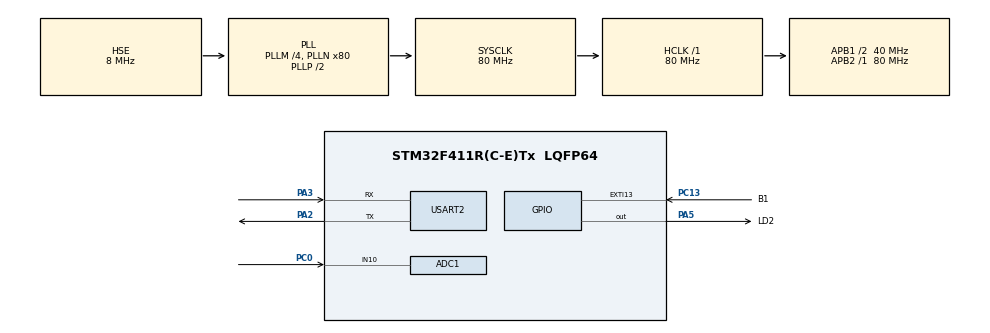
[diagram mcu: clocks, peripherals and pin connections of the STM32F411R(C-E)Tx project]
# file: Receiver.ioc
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ADC1.Channel-0\#ChannelRegularConversion=ADC_CHANNEL_10
ADC1.ContinuousConvMode=DISABLE
ADC1.DMAContinuousRequests=ENABLE
ADC1.ExternalTrigConv=ADC_EXTERNALTRIGCONV_T3_TRGO
ADC1.NbrOfConversion=1
ADC1.NbrOfConversionFlag=1
ADC1.Rank-0\#ChannelRegularConversion=1
ADC1.SamplingTime-0\#ChannelRegularConversion=ADC_SAMPLETIME_56CYCLES
ADC1.master=1
Dma.ADC1.0.Direction=DMA_PERIPH_TO_MEMORY
Dma.ADC1.0.FIFOMode=DMA_FIFOMODE_DISABLE
Dma.ADC1.0.Instance=DMA2_Stream0
Dma.ADC1.0.MemDataAlignment=DMA_MDATAALIGN_HALFWORD
Dma.ADC1.0.MemInc=DMA_MINC_ENABLE
Dma.ADC1.0.Mode=DMA_CIRCULAR
Dma.ADC1.0.PeriphDataAlignment=DMA_PDATAALIGN_HALFWORD
Dma.ADC1.0.PeriphInc=DMA_PINC_DISABLE
Dma.ADC1.0.Priority=DMA_PRIORITY_LOW
Dma.Request0=ADC1
Mcu.Family=STM32F4
Mcu.Name=STM32F411R(C-E)Tx
Mcu.Package=LQFP64
NVIC.DMA2_Stream0_IRQn=true\:0\:0\:false\:false\:true\:false\:true\:true
NVIC.EXTI15_10_IRQn=true\:0\:0\:false\:false\:true\:true\:true\:true
NVIC.PriorityGroup=NVIC_PRIORITYGROUP_0
PA13.Mode=Serial_Wire
PA13.Signal=SYS_JTMS-SWDIO
PA14.Mode=Serial_Wire
PA14.Signal=SYS_JTCK-SWCLK
PA2.Mode=Asynchronous
PA2.Signal=USART2_TX
PA3.Mode=Asynchronous
PA3.Signal=USART2_RX
PA5.GPIO_Label=LD2
PA5.Signal=GPIO_Output
PC0.Signal=ADCx_IN10
PC13-ANTI_TAMP.GPIO_Label=B1
PC13-ANTI_TAMP.Signal=GPXTI13
PC14-OSC32_IN.Mode=LSE-External-Oscillator
PC14-OSC32_IN.Signal=RCC_OSC32_IN
PC15-OSC32_OUT.Mode=LSE-External-Oscillator
PC15-OSC32_OUT.Signal=RCC_OSC32_OUT
PH0\ -\ OSC_IN.Mode=HSE-External-Clock-Source
PH0\ -\ OSC_IN.Signal=RCC_OSC_IN
PH1\ -\ OSC_OUT.Mode=HSE-External-Clock-Source
PH1\ -\ OSC_OUT.Signal=RCC_OSC_OUT
ProjectManager.HeapSize=0x200
ProjectManager.StackSize=0x400
ProjectManager.TargetToolchain=STM32CubeIDE
RCC.48MHZClocksFreq_Value=40000000
RCC.AHBFreq_Value=80000000
RCC.APB1CLKDivider=RCC_HCLK_DIV2
RCC.APB1Freq_Value=40000000
RCC.APB1TimFreq_Value=80000000
RCC.APB2Freq_Value=80000000
RCC.APB2TimFreq_Value=80000000
RCC.CortexFreq_Value=80000000
RCC.FLatency-AdvancedSettings=FLASH_LATENCY_2
RCC.HCLKFreq_Value=80000000
RCC.HSE_VALUE=8000000
RCC.HSI_VALUE=16000000
RCC.PLLM=4
RCC.PLLN=80
RCC.PLLSourceVirtual=RCC_PLLSOURCE_HSE
RCC.SYSCLKFreq_VALUE=80000000
RCC.SYSCLKSource=RCC_SYSCLKSOURCE_PLLCLK
RCC.VCOOutputFreq_Value=160000000
SH.ADCx_IN10.0=ADC1_IN10,IN10
TIM3.Period=399
TIM3.TIM_MasterOutputTrigger=TIM_TRGO_UPDATE
USART2.VirtualMode=VM_ASYNC
VP_TIM3_VS_ClockSourceINT.Mode=Internal
board=NUCLEO-F411RE

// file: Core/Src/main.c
/* USER CODE BEGIN Header */
/**
 ******************************************************************************
 * @file           : main.c
 * @brief          : IBC receiver (BFSK/OOK)
 ******************************************************************************
 *
 * ADC 200 kHz -> Goertzel (10/20 kHz + 5 kHz noise bin) -> edge-tracking
 * bit sync, centre-3 vote -> Barker-13 + PRBS-9 (BER) or CRC frames (packet).
 *
 * BER_TEST_MODE: 1 = BER stream, 0 = packet mode. BPS_MODE 20/40/100,
 * MOD_MODE 0 = BFSK / 1 = OOK. Same values on TX.
 *
 * NUCLEO-F411RE @ 100 MHz. ADC1 ch10 (PC0) -> signal electrode, GND ->
 * return electrode. TIM3 200 kHz ADC trigger, USART2 log.
 *
 ******************************************************************************
 */
/* USER CODE END Header */
#include "main.h"

/* USER CODE BEGIN Includes */
#include <stdio.h>
#include <math.h>
#include <stdint.h>
#include <string.h>
/* USER CODE END Includes */

ADC_HandleTypeDef hadc1;
DMA_HandleTypeDef hdma_adc1;

TIM_HandleTypeDef htim3;

UART_HandleTypeDef huart2;

void SystemClock_Config(void);
static void MX_GPIO_Init(void);
static void MX_DMA_Init(void);
static void MX_ADC1_Init(void);
static void MX_TIM3_Init(void);
static void MX_USART2_UART_Init(void);

/* USER CODE BEGIN 0 */

/* non-blocking UART log: ring buffer drained from the main loop */
#define TXR_SIZE 2048u
static uint8_t  txr_buf[TXR_SIZE];
static volatile uint16_t txr_head = 0;
static volatile uint16_t txr_tail = 0;
static volatile uint8_t  tx_async = 0;   /* 0 = blocking, 1 = buffered */

static inline void txr_push(uint8_t c)
{
    uint16_t next = (uint16_t)((txr_head + 1u) % TXR_SIZE);
    if (next != txr_tail) { txr_buf[txr_head] = c; txr_head = next; }
}

static void txr_drain(void)
{
    while (txr_tail != txr_head && __HAL_UART_GET_FLAG(&huart2, UART_FLAG_TXE))
    {
        huart2.Instance->DR = txr_buf[txr_tail];
        txr_tail = (uint16_t)((txr_tail + 1u) % TXR_SIZE);
    }
}

static void txr_flush_blocking(void)
{
    while (txr_tail != txr_head)
    {
        if (__HAL_UART_GET_FLAG(&huart2, UART_FLAG_TXE))
        {
            huart2.Instance->DR = txr_buf[txr_tail];
            txr_tail = (uint16_t)((txr_tail + 1u) % TXR_SIZE);
        }
    }
}

int __io_putchar(int ch)
{
    uint8_t c = (uint8_t)ch;
    if (tx_async) {
        txr_push(c);
    } else {
        HAL_UART_Transmit(&huart2, &c, 1, 10);
    }
    return ch;
}

/* 1 = BER stream, 0 = packet mode */
#define BER_TEST_MODE   0

/* 1 = idle power bench (ADC/TIM3 off, WFI; measure at JP6, no debugger) */
#ifndef POWER_IDLE_TEST
#define POWER_IDLE_TEST 0
#endif

/* bit rate: 20, 40 or 100 bps (same on TX); window N = FS_ADC/(5*bps) */
#ifndef BPS_MODE
#define BPS_MODE 20
#endif

/* 0 = BFSK (10/20 kHz), 1 = OOK (20 kHz vs adaptive threshold) */
#ifndef MOD_MODE
#define MOD_MODE 1
#endif
#if MOD_MODE != 0 && MOD_MODE != 1
#error "MOD_MODE must be 0 (BFSK) or 1 (OOK)"
#endif

/* auto-stop N minutes after the first sync (0 = run forever) */
#ifndef TEST_DURATION_MIN
#define TEST_DURATION_MIN 25u
#endif
#define TEST_DURATION_MS  ((uint32_t)TEST_DURATION_MIN * 60000u)

#define FS_ADC       200000u

#if BPS_MODE == 20
  #define HALF_SAMPLES 2000u
#elif BPS_MODE == 40
  #define HALF_SAMPLES 1000u
#elif BPS_MODE == 100
  #define HALF_SAMPLES 400u
#else
  #error "Unsupported BPS_MODE: choose 20, 40 or 100"
#endif

#define N_SAMPLES    (HALF_SAMPLES * 2u)
#define F_NOISE      5000.0f   /* noise bin */

static uint16_t adc_buf[N_SAMPLES];
static volatile uint32_t adc_half_ready = 0;

typedef struct { float coeff; } goertzel_cfg_t;
static goertzel_cfg_t g10, g20, g_noise;

static void goertzel_init(goertzel_cfg_t *g, uint32_t N, float fs, float f0)
{
    float kf = (N * f0) / fs;
    uint32_t k = (uint32_t)(kf + 0.5f);
    float w = 2.0f * 3.14159265f * (float)k / (float)N;
    g->coeff = 2.0f * cosf(w);
}

/* single-bin power, DC removed */
static float goertzel_power(const goertzel_cfg_t *g, const uint16_t *x, uint32_t N)
{
    uint32_t sum = 0;
    for (uint32_t i = 0; i < N; i++) sum += x[i];
    float mean = (float)sum / (float)N;

    float s0 = 0.0f, s1 = 0.0f, s2 = 0.0f;
    float coeff = g->coeff;
    for (uint32_t i = 0; i < N; i++) {
        float v = (float)x[i] - mean;
        s0 = v + coeff * s1 - s2;
        s2 = s1;
        s1 = s0;
    }
    return (s1 * s1 + s2 * s2 - coeff * s1 * s2);
}

static uint8_t last_bit = 1;

#if MOD_MODE == 0
#define MIN_POWER_THRESHOLD  1e4f
#define DIFF_FRACTION  0.15f

static uint8_t classify_bfsk(float p10, float p20)
{
    if (!(p10 == p10) || p10 < 0) p10 = 0;
    if (!(p20 == p20) || p20 < 0) p20 = 0;

    float pmax = (p10 > p20) ? p10 : p20;
    if (pmax < MIN_POWER_THRESHOLD) return last_bit;

    float diff = p20 - p10;
    float margin = pmax * DIFF_FRACTION;

    if (diff > margin)       last_bit = 1;
    else if (diff < -margin) last_bit = 0;

    return last_bit;
}
#endif /* MOD_MODE == 0 */

#if MOD_MODE == 1
/* OOK threshold: geometric mean of on/off EMAs, hysteresis, noise bootstrap */
#define OOK_NOISE_FACTOR  10.0f
#define OOK_EMA_ALPHA     0.05f
#define OOK_HYST          1.5f

static float ook_ema_on = 0.0f, ook_ema_off = 0.0f;

static uint8_t classify_ook(float pc, float p_noise)
{
    if (!(pc == pc) || pc < 0) pc = 0;
    if (!(p_noise == p_noise) || p_noise < 1.0f) p_noise = 1.0f;

    float thr;
    if (ook_ema_on > 0.0f && ook_ema_off > 0.0f)
        thr = sqrtf(ook_ema_on * ook_ema_off);
    else
        thr = OOK_NOISE_FACTOR * p_noise;

    if (pc > thr * OOK_HYST)      last_bit = 1;
    else if (pc * OOK_HYST < thr) last_bit = 0;
    /* else keep last_bit */

    if (last_bit)
        ook_ema_on  = (ook_ema_on  <= 0.0f) ? pc
                      : ook_ema_on  + OOK_EMA_ALPHA * (pc - ook_ema_on);
    else
        ook_ema_off = (ook_ema_off <= 0.0f) ? pc
                      : ook_ema_off + OOK_EMA_ALPHA * (pc - ook_ema_off);

    return last_bit;
}
#endif /* MOD_MODE == 1 */

#if BER_TEST_MODE
/* stream: 64-bit preamble + Barker-13 + 511-bit PRBS-9, vs local replica */

static uint16_t prbs9_state_rx = 0x1FFu;
static uint8_t prbs9_next_bit_rx(void)
{
    uint8_t out = (uint8_t)(((prbs9_state_rx >> 8) ^ (prbs9_state_rx >> 4)) & 1u);
    prbs9_state_rx = (uint16_t)(((prbs9_state_rx << 1) | out) & 0x1FFu);
    return out;
}

#define BER_BARKER_LEN     13u
#define BER_BARKER_PATTERN 0x1F35u    /* 1111100110101 */
#define BER_BARKER_MASK    0x1FFFu
#define BER_PRBS_BITS      511u

/* gate: the 8 bits before the Barker must be 0x55 (fewer false syncs) */
#define BER_PREAMBLE_CHECK_BITS 8u
#define BER_PREAMBLE_CHECK_MASK 0xFFu
#define BER_PREAMBLE_EXPECT     0x55u

/* seq BER >= threshold -> slip, excluded from BER_cond */
#define BER_VALID_THRESHOLD     0.10f

typedef enum { BER_SEARCHING = 0, BER_SYNCED } ber_state_t;
static ber_state_t ber_st        = BER_SEARCHING;
static uint32_t    ber_shifter   = 0;
static uint32_t    ber_seq_idx   = 0;

static uint32_t ber_seq_total = 0;
static uint32_t ber_seq_err   = 0;

/* cum = all sequences, valid = lock-only */
static uint32_t ber_cum_total  = 0;
static uint32_t ber_cum_err    = 0;
static uint32_t ber_sync_count = 0;

static uint32_t ber_valid_syncs = 0;
static uint32_t ber_slip_syncs  = 0;
static uint32_t ber_valid_bits  = 0;
static uint32_t ber_valid_errs  = 0;

static uint32_t test_start_ms = 0;
static uint8_t  test_done     = 0;

static void ber_process_bit(uint8_t b)
{
    ber_shifter = (ber_shifter << 1) | (b & 1u);

    if (ber_st == BER_SEARCHING) {
        uint16_t barker = (uint16_t)(ber_shifter & BER_BARKER_MASK);
        uint8_t  prefix = (uint8_t)((ber_shifter >> BER_BARKER_LEN) & BER_PREAMBLE_CHECK_MASK);
        if (barker == BER_BARKER_PATTERN && prefix == BER_PREAMBLE_EXPECT) {
            prbs9_state_rx = 0x1FFu;
            ber_st         = BER_SYNCED;
            ber_seq_idx    = 0;
            ber_seq_total  = 0;
            ber_seq_err    = 0;
            ber_sync_count++;
            if (test_start_ms == 0) {
                test_start_ms = HAL_GetTick();
            }
            printf("BER: SYNC #%lu (gated)\r\n", (unsigned long)ber_sync_count);
        }
        return;
    }

    uint8_t expected = prbs9_next_bit_rx();
    if (b != expected) {
        ber_seq_err++;
        ber_cum_err++;
    }
    ber_seq_total++;
    ber_cum_total++;
    ber_seq_idx++;

    if (ber_seq_idx >= BER_PRBS_BITS) {
        float ber_seq  = (ber_seq_total  > 0) ? (float)ber_seq_err  / (float)ber_seq_total  : 0.0f;
        float ber_cum  = (ber_cum_total  > 0) ? (float)ber_cum_err  / (float)ber_cum_total  : 0.0f;
        const char *tag;
        if (ber_seq < BER_VALID_THRESHOLD) {
            ber_valid_syncs++;
            ber_valid_bits += ber_seq_total;
            ber_valid_errs += ber_seq_err;
            tag = "LOCK";
        } else {
            ber_slip_syncs++;
            tag = "SLIP";
        }
        float ber_cond = (ber_valid_bits > 0)
                         ? (float)ber_valid_errs / (float)ber_valid_bits : 0.0f;
        printf("BER: END_SEQ #%lu [%s] seq_err=%lu BER_seq=%.4e | "
               "lock=%lu slip=%lu BER_cond=%.4e BER_cum=%.4e\r\n",
               (unsigned long)ber_sync_count, tag,
               (unsigned long)ber_seq_err, (double)ber_seq,
               (unsigned long)ber_valid_syncs, (unsigned long)ber_slip_syncs,
               (double)ber_cond, (double)ber_cum);
        ber_st      = BER_SEARCHING;
        ber_seq_idx = 0;
        /* keep ber_shifter: the next sync shifts in naturally */
    }
}
#endif /* BER_TEST_MODE */

/* frame: 0x55 preamble, sync 0xD3 0x91, LEN, SEQ, payload, CRC-16/CCITT-FALSE LE */
#define PREAMBLE_BYTE      0x55u
#define PREAMBLE_MIN       4u
#define SYNC1_BYTE         0xD3u
#define SYNC2_BYTE         0x91u
#define FRAME_PAYLOAD_MAX  80u

static uint16_t crc16_ccitt_false_update(uint16_t crc, uint8_t data)
{
    crc ^= (uint16_t)data << 8;
    for (int i = 0; i < 8; i++) {
        if (crc & 0x8000) crc = (crc << 1) ^ 0x1021;
        else              crc = (crc << 1);
    }
    return crc;
}

typedef enum {
    FP_SEARCH = 0, FP_SYNC2, FP_LEN, FP_SEQ,
    FP_PAYLOAD, FP_CRC_LO, FP_CRC_HI
} fp_state_t;

static struct {
    fp_state_t st;
    uint8_t pre_cnt, len, seq;
    uint8_t payload[FRAME_PAYLOAD_MAX];
    uint8_t idx;
    uint16_t crc_rx, crc_calc;
} fp;

static void fp_reset(void) {
    fp.st = FP_SEARCH; fp.pre_cnt = 0; fp.len = 0; fp.seq = 0;
    fp.idx = 0; fp.crc_rx = 0; fp.crc_calc = 0xFFFF;
}
static void fp_init(void) { fp_reset(); }

static uint32_t fp_t0 = 0;
#define FP_TIMEOUT_MS 5000u
static inline void fp_note_activity(void) { fp_t0 = HAL_GetTick(); }

static uint32_t stat_ok = 0, stat_crc_fail = 0, stat_gaps = 0;
static uint8_t have_seq = 0, last_seq_ok = 0;

static float p10_acc = 0.0f, p20_acc = 0.0f, p_noise_acc = 0.0f;
static uint32_t p_count = 0;

static void fp_on_frame_ok(uint8_t len, uint8_t seq, const uint8_t *pl)
{
    stat_ok++;

    printf("FRAME OK seq=%u len=%u", (unsigned)seq, (unsigned)len);
    if (len == 2u) {
        /* uint16 LE, mg/dL */
        uint16_t val = (uint16_t)pl[0] | ((uint16_t)pl[1] << 8);
        printf(" %u mg/dL", (unsigned)val);
    } else {
        char s[FRAME_PAYLOAD_MAX + 1] = {0};
        uint8_t n = (len > FRAME_PAYLOAD_MAX) ? FRAME_PAYLOAD_MAX : len;
        for (uint8_t i = 0; i < n; i++) {
            uint8_t c = pl[i];
            if (c < 32 || c > 126) { s[0] = '\0'; break; }
            s[i] = (char)c;
            s[i + 1] = '\0';
        }
        if (s[0]) printf(" MSG: %s", s);
    }
    printf(" [ok=%lu fail=%lu gaps=%lu]\r\n",
           (unsigned long)stat_ok, (unsigned long)stat_crc_fail, (unsigned long)stat_gaps);

    if (have_seq) {
        uint8_t exp = (uint8_t)(last_seq_ok + 1u);
        if (seq != exp) {
            stat_gaps++;
            printf("SEQ GAP %u->%u\r\n", (unsigned)last_seq_ok, (unsigned)seq);
        }
    } else {
        have_seq = 1;
    }
    last_seq_ok = seq;

    /* PKT,<t_ms>,<seq>,<mgdl>,<ok>,<crc_fail>,<gaps> */
    if (len == 2u) {
        uint16_t val = (uint16_t)pl[0] | ((uint16_t)pl[1] << 8);
        printf("PKT,%lu,%u,%u,%lu,%lu,%lu\r\n",
               (unsigned long)HAL_GetTick(), (unsigned)seq, (unsigned)val,
               (unsigned long)stat_ok, (unsigned long)stat_crc_fail,
               (unsigned long)stat_gaps);
    }
}

static void fp_push_byte(uint8_t b)
{
    fp_note_activity();
    switch (fp.st) {
    case FP_SEARCH:
        if (b == PREAMBLE_BYTE) { if (fp.pre_cnt < 255) fp.pre_cnt++; return; }
        if (fp.pre_cnt >= PREAMBLE_MIN && b == SYNC1_BYTE) { fp.st = FP_SYNC2; return; }
        fp.pre_cnt = 0;
        return;
    case FP_SYNC2:
        if (b == SYNC2_BYTE) fp.st = FP_LEN; else fp_reset();
        return;
    case FP_LEN:
        fp.len = b;
        if (fp.len > FRAME_PAYLOAD_MAX) { fp_reset(); return; }
        fp.crc_calc = 0xFFFF;
        fp.crc_calc = crc16_ccitt_false_update(fp.crc_calc, fp.len);
        fp.st = FP_SEQ;
        return;
    case FP_SEQ:
        fp.seq = b;
        fp.crc_calc = crc16_ccitt_false_update(fp.crc_calc, fp.seq);
        fp.idx = 0;
        fp.st = (fp.len == 0) ? FP_CRC_LO : FP_PAYLOAD;
        return;
    case FP_PAYLOAD:
        fp.payload[fp.idx++] = b;
        fp.crc_calc = crc16_ccitt_false_update(fp.crc_calc, b);
        if (fp.idx >= fp.len) fp.st = FP_CRC_LO;
        return;
    case FP_CRC_LO:
        fp.crc_rx = (uint16_t)b;
        fp.st = FP_CRC_HI;
        return;
    case FP_CRC_HI:
        fp.crc_rx |= ((uint16_t)b << 8);
        if (fp.crc_rx == fp.crc_calc) {
            fp_on_frame_ok(fp.len, fp.seq, fp.payload);
        } else {
            stat_crc_fail++;
            printf("CRC FAIL rx=%04X calc=%04X [fail=%lu]\r\n",
                   (unsigned)fp.crc_rx, (unsigned)fp.crc_calc, (unsigned long)stat_crc_fail);
            /* PKTFAIL,<t_ms>,<seq>,<ok>,<crc_fail> */
            printf("PKTFAIL,%lu,%u,%lu,%lu\r\n",
                   (unsigned long)HAL_GetTick(), (unsigned)fp.seq,
                   (unsigned long)stat_ok, (unsigned long)stat_crc_fail);
        }
        fp_reset();
        return;
    }
}

/* UART-like deframer: start, 8 data LSB-first, stop */
typedef enum { RX_WAIT_START = 0, RX_BITS, RX_STOP } rx_state_t;
static rx_state_t rx_st = RX_WAIT_START;
static uint8_t rx_byte = 0, rx_bit_i = 0;

#define WINS_PER_BIT  5u

static uint8_t win_buf[WINS_PER_BIT];
static uint8_t bit_cnt = 0;
static uint8_t start_zeros = 0, stop_ones = 0, idle_ones = 0;
static uint8_t prev_raw = 1;
static uint8_t synced = 0;

static void rx_soft_reset(void)
{
    rx_st = RX_WAIT_START;
    rx_byte = 0; rx_bit_i = 0;
    bit_cnt = 0;
    start_zeros = 0; stop_ones = 0; idle_ones = 0;
    prev_raw = 1;
    synced = 0;
    for (int i = 0; i < (int)WINS_PER_BIT; i++) win_buf[i] = 1;
}

static uint8_t center_vote(void)
{
    uint8_t ones = win_buf[1] + win_buf[2] + win_buf[3];
    return (ones >= 2) ? 1u : 0u;
}

static void rx_push_bit(uint8_t b)
{
    switch (rx_st) {
    case RX_WAIT_START:
        if (b == 1) {
            idle_ones++;
            start_zeros = 0;
        } else {
            start_zeros++;
            if (start_zeros >= 6) idle_ones = 0;
            if (start_zeros >= 2 && idle_ones >= 2) {
                start_zeros = 0;
                stop_ones = 0;
                rx_st = RX_BITS;
                idle_ones = 0;
                rx_byte = 0;
                rx_bit_i = 0;
            }
        }
        break;
    case RX_BITS:
        rx_byte |= (b & 1u) << rx_bit_i;
        rx_bit_i++;
        if (rx_bit_i >= 8) rx_st = RX_STOP;
        break;
    case RX_STOP:
        if (b == 1) {
            stop_ones++;
            if (stop_ones >= 3) {
                fp_push_byte(rx_byte);
                rx_st = RX_WAIT_START;
                bit_cnt = 0;
                start_zeros = 0; idle_ones = 0;
                rx_byte = 0; rx_bit_i = 0; stop_ones = 0;
            }
        } else {
            rx_st = RX_WAIT_START;
            bit_cnt = 0;
            start_zeros = 0; idle_ones = 0;
            rx_byte = 0; rx_bit_i = 0; stop_ones = 0;
        }
        break;
    }
}

static inline void rx_dispatch_decided_bit(uint8_t decided)
{
#if BER_TEST_MODE
    ber_process_bit(decided);
#else
    rx_push_bit(decided);
#endif
}

/* edges realign the window counter, centre-3 majority decides the bit */
static void rx_push_bit_10ms(uint8_t b10)
{
    uint8_t edge = (b10 != prev_raw) ? 1u : 0u;
    prev_raw = b10;

    if (edge) {
        if (bit_cnt >= 3) {
            uint8_t decided = center_vote();
            rx_dispatch_decided_bit(decided);
        }
        bit_cnt = 0;
        win_buf[0] = b10;
        bit_cnt = 1;
        synced = 1;
        return;
    }

    if (bit_cnt < WINS_PER_BIT) {
        win_buf[bit_cnt] = b10;
        bit_cnt++;
    }

    if (bit_cnt >= WINS_PER_BIT) {
        uint8_t decided = center_vote();
        rx_dispatch_decided_bit(decided);
        bit_cnt = 0;
    }
}

/* USER CODE END 0 */

int main(void)
{

  /* MCU Configuration--------------------------------------------------------*/

  /* Reset of all peripherals, Initializes the Flash interface and the Systick. */
  HAL_Init();

  /* Configure the system clock */
  SystemClock_Config();

  /* Initialize all configured peripherals */
  MX_GPIO_Init();
  MX_DMA_Init();
  MX_ADC1_Init();
  MX_TIM3_Init();
  MX_USART2_UART_Init();
  /* USER CODE BEGIN 2 */
    /* 921600 baud: prints must fit in one ADC half-buffer period */
    huart2.Init.BaudRate = 921600;
    if (HAL_UART_Init(&huart2) != HAL_OK) Error_Handler();

#if BER_TEST_MODE
    printf("\r\n\r\n=== RX BOOT - BER TEST MODE ===\r\n");
    printf("MOD=%s\r\n", (MOD_MODE == 1) ? "OOK (20 kHz carrier, adaptive threshold)"
                                         : "BFSK (10/20 kHz)");
    printf("BPS_MODE=%u (HALF_SAMPLES=%u, %u samples/bit @ %u Hz)\r\n",
           (unsigned)BPS_MODE, (unsigned)HALF_SAMPLES,
           (unsigned)(HALF_SAMPLES * 5u), (unsigned)FS_ADC);
    printf("Expect: 64-bit preamble + Barker13 (1F35h, gated by %u preamble bits = 0x%02X) "
           "+ %u-bit PRBS-9\r\n",
           (unsigned)BER_PREAMBLE_CHECK_BITS, (unsigned)BER_PREAMBLE_EXPECT,
           (unsigned)BER_PRBS_BITS);
    printf("Noise floor band: %.0f Hz; lock threshold: BER<%.2f\r\n",
           (double)F_NOISE, (double)BER_VALID_THRESHOLD);
    if (TEST_DURATION_MIN > 0u) {
        printf("Auto-stop: test will halt %u min after the first sync.\r\n",
               (unsigned)TEST_DURATION_MIN);
    } else {
        printf("Auto-stop: DISABLED (run forever).\r\n");
    }
#else
    printf("\r\n\r\n=== RX BOOT - FRAME MODE ===\r\n");
    printf("MOD=%s BPS_MODE=%u\r\n",
           (MOD_MODE == 1) ? "OOK (20 kHz carrier, adaptive threshold)"
                           : "BFSK (10/20 kHz)",
           (unsigned)BPS_MODE);
#endif

    goertzel_init(&g10,    HALF_SAMPLES, (float)FS_ADC, 10000.0f);
    goertzel_init(&g20,    HALF_SAMPLES, (float)FS_ADC, 20000.0f);
    goertzel_init(&g_noise, HALF_SAMPLES, (float)FS_ADC, F_NOISE);

#if POWER_IDLE_TEST
    /* idle bench: nothing started, WFI */
    printf(">>> POWER_IDLE_TEST: ADC/TIM3/DMA OFF - MCU idle (WFI) <<<\r\n");
#else
    HAL_TIM_Base_Start(&htim3);
    HAL_ADC_Start_DMA(&hadc1, (uint32_t *)adc_buf, N_SAMPLES);
#endif

    fp_init();
    fp_t0 = HAL_GetTick();
    rx_soft_reset();
    last_bit = 1;

    printf("RX: edge-tracking sync, center-3 voting\r\n");
    printf("Starting decoder...\r\n\r\n");

    uint32_t dbg_t0 = HAL_GetTick();
    uint32_t win_cnt = 0;
    tx_async = 1;   /* banner sent, go non-blocking */
  /* USER CODE END 2 */

  /* Infinite loop */
  while (1)
  {

    /* USER CODE BEGIN 3 */
        txr_drain();
#if BER_TEST_MODE
        /* auto-stop: final summary, then idle */
        if (TEST_DURATION_MIN > 0u && !test_done && test_start_ms != 0u &&
            (HAL_GetTick() - test_start_ms) >= TEST_DURATION_MS)
        {
            test_done = 1;
            HAL_ADC_Stop_DMA(&hadc1);
            float ber_cum_f  = (ber_cum_total  > 0)
                               ? (float)ber_cum_err  / (float)ber_cum_total  : 0.0f;
            float ber_cond_f = (ber_valid_bits > 0)
                               ? (float)ber_valid_errs / (float)ber_valid_bits : 0.0f;
            float slip_rate  = (ber_sync_count > 0)
                               ? (float)ber_slip_syncs / (float)ber_sync_count : 0.0f;
            printf("\r\n=========================================\r\n");
            printf("=== END OF TEST (duration=%u min) ===\r\n",
                   (unsigned)TEST_DURATION_MIN);
            printf("=========================================\r\n");
            printf("FINAL: syncs=%lu lock=%lu slip=%lu slip_rate=%.4f\r\n",
                   (unsigned long)ber_sync_count,
                   (unsigned long)ber_valid_syncs,
                   (unsigned long)ber_slip_syncs,
                   (double)slip_rate);
            printf("FINAL: bits_cum=%lu err_cum=%lu BER_cum=%.4e\r\n",
                   (unsigned long)ber_cum_total,
                   (unsigned long)ber_cum_err,
                   (double)ber_cum_f);
            printf("FINAL: bits_lock=%lu err_lock=%lu BER_cond=%.4e\r\n",
                   (unsigned long)ber_valid_bits,
                   (unsigned long)ber_valid_errs,
                   (double)ber_cond_f);
            printf("=========================================\r\n");
            printf("=== STOP LOGGING NOW ===\r\n");
            printf("=========================================\r\n");
            txr_flush_blocking();
        }
        if (test_done) {
            HAL_Delay(1000);
            continue;
        }
#endif /* BER_TEST_MODE */

        if (fp.st != FP_SEARCH && (HAL_GetTick() - fp_t0 > FP_TIMEOUT_MS)) {
            printf("FP TIMEOUT\r\n");
            fp_reset();
            rx_soft_reset();
            fp_t0 = HAL_GetTick();
        }

        uint32_t flags;
        __disable_irq();
        flags = adc_half_ready;
        adc_half_ready = 0;
        __enable_irq();

        if (flags == 0u) {
            __WFI();
            continue;
        }

        for (int half = 0; half < 2; half++) {
            if (!(flags & (1u << half))) continue;

            const uint16_t *x = (half == 0) ? &adc_buf[0] : &adc_buf[HALF_SAMPLES];

            float p10     = goertzel_power(&g10,    x, HALF_SAMPLES);
            float p20     = goertzel_power(&g20,    x, HALF_SAMPLES);
            float p_noise = goertzel_power(&g_noise, x, HALF_SAMPLES);

#if MOD_MODE == 1
            uint8_t bit = classify_ook(p20, p_noise);
#else
            uint8_t bit = classify_bfsk(p10, p20);
#endif

            p10_acc     += p10;
            p20_acc     += p20;
            p_noise_acc += p_noise;
            p_count++;

            rx_push_bit_10ms(bit);
            win_cnt++;
        }

        if (HAL_GetTick() - dbg_t0 >= 5000u) {
            uint32_t t_ms = HAL_GetTick();
            dbg_t0 = t_ms;

            float p10_avg     = (p_count > 0) ? (p10_acc     / (float)p_count) : 0.0f;
            float p20_avg     = (p_count > 0) ? (p20_acc     / (float)p_count) : 0.0f;
            float p_noise_avg = (p_count > 0) ? (p_noise_acc / (float)p_count) : 0.0f;
            float p_sig_max   = (p10_avg > p20_avg) ? p10_avg : p20_avg;
            float p_sig_min   = (p10_avg < p20_avg) ? p10_avg : p20_avg;
            float snr_tone_db = (p_sig_min > 0.0f) ?
                                10.0f * log10f(p_sig_max / p_sig_min) : 0.0f;
            float snr_real_db = (p_sig_max > 0.0f && p_noise_avg > 0.0f) ?
                                10.0f * log10f(p_sig_max / p_noise_avg) : 0.0f;
            p10_acc = 0.0f; p20_acc = 0.0f; p_noise_acc = 0.0f; p_count = 0;

#if BER_TEST_MODE
            float ber_cum  = (ber_cum_total  > 0)
                             ? (float)ber_cum_err  / (float)ber_cum_total  : 0.0f;
            float ber_cond = (ber_valid_bits > 0)
                             ? (float)ber_valid_errs / (float)ber_valid_bits : 0.0f;
            /* CSV,<t_ms>,<win_cnt>,<syncs>,<locks>,<slips>,<bits_cum>,
             * <errs_cum>,<BER_cum>,<BER_cond>,<p10>,<p20>,<p_noise>,
             * <SNR_real_dB>,<SNR_tone_dB> */
            printf("CSV,%lu,%lu,%lu,%lu,%lu,%lu,%lu,%.6e,%.6e,%.1f,%.1f,%.1f,%.2f,%.2f\r\n",
                   (unsigned long)t_ms,
                   (unsigned long)win_cnt,
                   (unsigned long)ber_sync_count,
                   (unsigned long)ber_valid_syncs,
                   (unsigned long)ber_slip_syncs,
                   (unsigned long)ber_cum_total,
                   (unsigned long)ber_cum_err,
                   (double)ber_cum, (double)ber_cond,
                   (double)p10_avg, (double)p20_avg, (double)p_noise_avg,
                   (double)snr_real_db, (double)snr_tone_db);
#else
            printf("RX: wins=%lu ok=%lu fail=%lu gaps=%lu bit=%u st=%u sync=%u\r\n",
                   (unsigned long)win_cnt,
                   (unsigned long)stat_ok,
                   (unsigned long)stat_crc_fail,
                   (unsigned long)stat_gaps,
                   (unsigned)last_bit,
                   (unsigned)fp.st,
                   (unsigned)synced);
            printf("    p10_avg=%.0f p20_avg=%.0f p_noise_avg=%.0f "
                   "SNR_real=%.1f dB SNR_tone=%.1f dB\r\n",
                   (double)p10_avg, (double)p20_avg, (double)p_noise_avg,
                   (double)snr_real_db, (double)snr_tone_db);
#endif
        }
  }
  /* USER CODE END 3 */
}

void SystemClock_Config(void)
{
  RCC_OscInitTypeDef RCC_OscInitStruct = {0};
  RCC_ClkInitTypeDef RCC_ClkInitStruct = {0};

  /** Configure the main internal regulator output voltage
  */
  __HAL_RCC_PWR_CLK_ENABLE();
  __HAL_PWR_VOLTAGESCALING_CONFIG(PWR_REGULATOR_VOLTAGE_SCALE1);

  /** Initializes the RCC Oscillators according to the specified parameters
  * in the RCC_OscInitTypeDef structure.
  */
  RCC_OscInitStruct.OscillatorType = RCC_OSCILLATORTYPE_HSE;
  RCC_OscInitStruct.HSEState = RCC_HSE_BYPASS;
  RCC_OscInitStruct.PLL.PLLState = RCC_PLL_ON;
  RCC_OscInitStruct.PLL.PLLSource = RCC_PLLSOURCE_HSE;
  RCC_OscInitStruct.PLL.PLLM = 4;
  RCC_OscInitStruct.PLL.PLLN = 80;
  RCC_OscInitStruct.PLL.PLLP = RCC_PLLP_DIV2;
  RCC_OscInitStruct.PLL.PLLQ = 4;
  if (HAL_RCC_OscConfig(&RCC_OscInitStruct) != HAL_OK)
  {
    Error_Handler();
  }

  /** Initializes the CPU, AHB and APB buses clocks
  */
  RCC_ClkInitStruct.ClockType = RCC_CLOCKTYPE_HCLK|RCC_CLOCKTYPE_SYSCLK
                              |RCC_CLOCKTYPE_PCLK1|RCC_CLOCKTYPE_PCLK2;
  RCC_ClkInitStruct.SYSCLKSource = RCC_SYSCLKSOURCE_PLLCLK;
  RCC_ClkInitStruct.AHBCLKDivider = RCC_SYSCLK_DIV1;
  RCC_ClkInitStruct.APB1CLKDivider = RCC_HCLK_DIV2;
  RCC_ClkInitStruct.APB2CLKDivider = RCC_HCLK_DIV1;

  if (HAL_RCC_ClockConfig(&RCC_ClkInitStruct, FLASH_LATENCY_2) != HAL_OK)
  {
    Error_Handler();
  }
}

static void MX_ADC1_Init(void)
{

  ADC_ChannelConfTypeDef sConfig = {0};

  /** Configure the global features of the ADC (Clock, Resolution, Data Alignment and number of conversion)
  */
  hadc1.Instance = ADC1;
  hadc1.Init.ClockPrescaler = ADC_CLOCK_SYNC_PCLK_DIV4;
  hadc1.Init.Resolution = ADC_RESOLUTION_12B;
  hadc1.Init.ScanConvMode = DISABLE;
  hadc1.Init.ContinuousConvMode = DISABLE;
  hadc1.Init.DiscontinuousConvMode = DISABLE;
  hadc1.Init.ExternalTrigConvEdge = ADC_EXTERNALTRIGCONVEDGE_RISING;
  hadc1.Init.ExternalTrigConv = ADC_EXTERNALTRIGCONV_T3_TRGO;
  hadc1.Init.DataAlign = ADC_DATAALIGN_RIGHT;
  hadc1.Init.NbrOfConversion = 1;
  hadc1.Init.DMAContinuousRequests = ENABLE;
  hadc1.Init.EOCSelection = ADC_EOC_SINGLE_CONV;
  if (HAL_ADC_Init(&hadc1) != HAL_OK)
  {
    Error_Handler();
  }

  /** Configure for the selected ADC regular channel its corresponding rank in the sequencer and its sample time.
  */
  sConfig.Channel = ADC_CHANNEL_10;
  sConfig.Rank = 1;
  sConfig.SamplingTime = ADC_SAMPLETIME_56CYCLES;
  if (HAL_ADC_ConfigChannel(&hadc1, &sConfig) != HAL_OK)
  {
    Error_Handler();
  }

}

static void MX_TIM3_Init(void)
{

  TIM_ClockConfigTypeDef sClockSourceConfig = {0};
  TIM_MasterConfigTypeDef sMasterConfig = {0};

  htim3.Instance = TIM3;
  htim3.Init.Prescaler = 0;
  htim3.Init.CounterMode = TIM_COUNTERMODE_UP;
  htim3.Init.Period = 399;
  htim3.Init.ClockDivision = TIM_CLOCKDIVISION_DIV1;
  htim3.Init.AutoReloadPreload = TIM_AUTORELOAD_PRELOAD_DISABLE;
  if (HAL_TIM_Base_Init(&htim3) != HAL_OK)
  {
    Error_Handler();
  }
  sClockSourceConfig.ClockSource = TIM_CLOCKSOURCE_INTERNAL;
  if (HAL_TIM_ConfigClockSource(&htim3, &sClockSourceConfig) != HAL_OK)
  {
    Error_Handler();
  }
  sMasterConfig.MasterOutputTrigger = TIM_TRGO_UPDATE;
  sMasterConfig.MasterSlaveMode = TIM_MASTERSLAVEMODE_DISABLE;
  if (HAL_TIMEx_MasterConfigSynchronization(&htim3, &sMasterConfig) != HAL_OK)
  {
    Error_Handler();
  }

}

static void MX_USART2_UART_Init(void)
{

  huart2.Instance = USART2;
  huart2.Init.BaudRate = 115200;
  huart2.Init.WordLength = UART_WORDLENGTH_8B;
  huart2.Init.StopBits = UART_STOPBITS_1;
  huart2.Init.Parity = UART_PARITY_NONE;
  huart2.Init.Mode = UART_MODE_TX_RX;
  huart2.Init.HwFlowCtl = UART_HWCONTROL_NONE;
  huart2.Init.OverSampling = UART_OVERSAMPLING_16;
  if (HAL_UART_Init(&huart2) != HAL_OK)
  {
    Error_Handler();
  }

}

static void MX_DMA_Init(void)
{

  /* DMA controller clock enable */
  __HAL_RCC_DMA2_CLK_ENABLE();

  /* DMA interrupt init */
  /* DMA2_Stream0_IRQn interrupt configuration */
  HAL_NVIC_SetPriority(DMA2_Stream0_IRQn, 0, 0);
  HAL_NVIC_EnableIRQ(DMA2_Stream0_IRQn);

}

static void MX_GPIO_Init(void)
{
  GPIO_InitTypeDef GPIO_InitStruct = {0};

  /* GPIO Ports Clock Enable */
  __HAL_RCC_GPIOC_CLK_ENABLE();
  __HAL_RCC_GPIOH_CLK_ENABLE();
  __HAL_RCC_GPIOA_CLK_ENABLE();

  /*Configure GPIO pin Output Level */
  HAL_GPIO_WritePin(LD2_GPIO_Port, LD2_Pin, GPIO_PIN_RESET);

  /*Configure GPIO pin : B1_Pin */
  GPIO_InitStruct.Pin = B1_Pin;
  GPIO_InitStruct.Mode = GPIO_MODE_IT_RISING;
  GPIO_InitStruct.Pull = GPIO_NOPULL;
  HAL_GPIO_Init(B1_GPIO_Port, &GPIO_InitStruct);

  /*Configure GPIO pin : LD2_Pin */
  GPIO_InitStruct.Pin = LD2_Pin;
  GPIO_InitStruct.Mode = GPIO_MODE_OUTPUT_PP;
  GPIO_InitStruct.Pull = GPIO_NOPULL;
  GPIO_InitStruct.Speed = GPIO_SPEED_FREQ_LOW;
  HAL_GPIO_Init(LD2_GPIO_Port, &GPIO_InitStruct);

  /* EXTI interrupt init*/
  HAL_NVIC_SetPriority(EXTI15_10_IRQn, 0, 0);
  HAL_NVIC_EnableIRQ(EXTI15_10_IRQn);

}

/* USER CODE BEGIN 4 */

void HAL_ADC_ConvHalfCpltCallback(ADC_HandleTypeDef *hadc)
{
    if (hadc->Instance == ADC1) adc_half_ready |= 1;
}

void HAL_ADC_ConvCpltCallback(ADC_HandleTypeDef *hadc)
{
    if (hadc->Instance == ADC1) adc_half_ready |= 2;
}

/* USER CODE END 4 */

void Error_Handler(void)
{
  __disable_irq();
  while (1)
  {
  }
}
